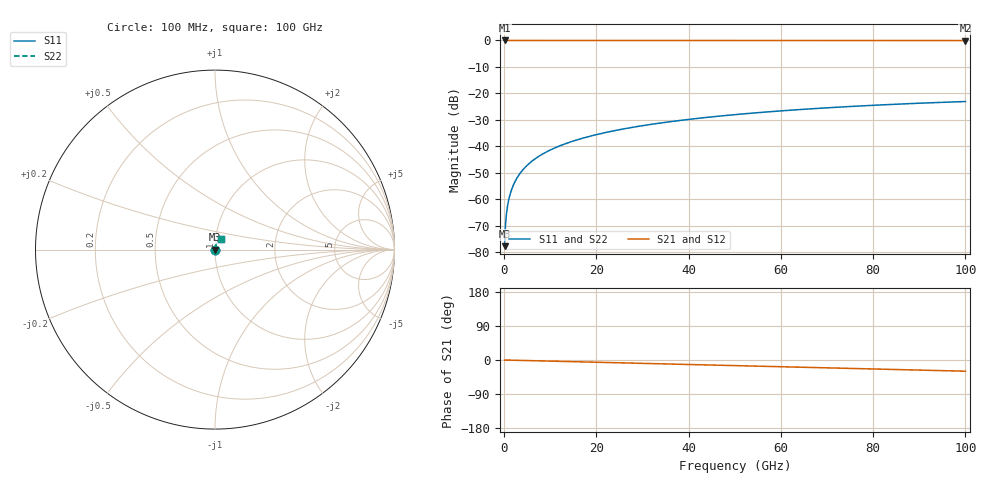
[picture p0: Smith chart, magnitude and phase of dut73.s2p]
! Touchstone file exported from HFSS 2026.1.0
!  File:  C:/ffzhzh/LocalFiles/Ansys_Project_Files/temp_train_TSV_73_1783505311_9504.aedt
!  Generated:  06:09:48 PM Jul  8, 2026
!  Design:  TSV
!  Project:  temp_train_TSV_73_1783505311_9504
! Variables:
!  h_bsmrdl = 2um
!  h_ox = 20um
!  h_rdl = 5um
!  h_sub = 51.36um
!  h_tmrdl = 5um
!  h_tsv = 51.36um
!  h_via = 3um
!  l_bsmrdl = 300um
!  l_sub = 424.76um
!  l_tmrdl = 200um
!  m_sub = 200um
!  pitch = 58.08um
!  r_tsv = 12.38um
!  s_tmrdl = 10um
!  w_bsmrdl = 18um
!  w_sub = 500um
!  w_tmrdl = 12um
!  x_tsv_center1 = 206um
!  x_tsv_center2 = 524um
!  x_tsv_center3 = 736um
!  x_tsv_center4 = 1054um
!  x_tsv_center5 = 1266um
!  x_tsv_center6 = 1584um
# GHz S MA R 50.000000
! Terminal data exported
! Port[1] = TSV1_1_T1
! Port[2] = TSV1_1_T2
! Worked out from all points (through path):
!   1000 points, 100 MHz to 100 GHz, reference 50 ohm
!   highest |S21| = 0.00 dB at 100 MHz (marker M1); lowest = 0.0 dB at 100 GHz (marker M2)
!   group delay of S21, straight-line fit = 821 fs
!   lowest |S11| = -77.8 dB at 100 MHz (marker M3), VSWR 1.00, Z = 50 + j0.011 ohm
!   |S11| at or under -10 dB: start of sweep to end of sweep
!   |S22| runs from -77.8 to -23.1 dB; largest |S21 - S12| = 2.1e-15
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0.1  0.0001294 58.5  0.9999 -0.0  0.9999 -0.0  0.0001294 58.5
! Gamma 0 0 0 0
! Port Impedance 50 0 50 0
0.3  0.0003336 74.5  0.9999 -0.1  0.9999 -0.1  0.0003336 74.5
0.7  0.0007125 78.4  0.9999 -0.2  0.9999 -0.2  0.0007125 78.4
0.8  0.000802 78.9  0.9998 -0.2  0.9998 -0.2  0.000802 78.9
1  0.0009786 79.7  0.9998 -0.3  0.9998 -0.3  0.0009786 79.7
1.3  0.001241 80.7  0.9998 -0.4  0.9998 -0.4  0.001241 80.7
1.8  0.001674 81.8  0.9998 -0.5  0.9998 -0.5  0.001674 81.8
2.3  0.002105 82.4  0.9997 -0.7  0.9997 -0.7  0.002105 82.4
3  0.002701 82.9  0.9997 -0.9  0.9997 -0.9  0.002701 82.9
3.8  0.003375 83.3  0.9997 -1.1  0.9997 -1.1  0.003375 83.3
4.8  0.004211 83.5  0.9996 -1.4  0.9996 -1.4  0.004211 83.5
6  0.005208 83.7  0.9996 -1.8  0.9996 -1.8  0.005208 83.7
8.8  0.00752 83.6  0.9995 -2.6  0.9995 -2.6  0.00752 83.6
12.4  0.01047 83.0  0.9993 -3.7  0.9993 -3.7  0.01047 83.0
16.8  0.01403 82.2  0.9992 -5.0  0.9992 -5.0  0.01403 82.2
24.2  0.01995 80.4  0.999 -7.2  0.999 -7.2  0.01995 80.4
33.4  0.02716 78.1  0.9986 -9.9  0.9986 -9.9  0.02716 78.1
41.2  0.03311 76.0  0.9983 -12.2  0.9983 -12.2  0.03311 76.0
50.1  0.03968 73.5  0.998 -14.8  0.998 -14.8  0.03968 73.5
66.7  0.05117 68.8  0.9973 -19.7  0.9973 -19.7  0.05117 68.8
83.4  0.06148 64.0  0.9965 -24.6  0.9965 -24.6  0.06148 64.1
100  0.0701 59.3  0.9956 -29.6  0.9956 -29.6  0.0701 59.3
